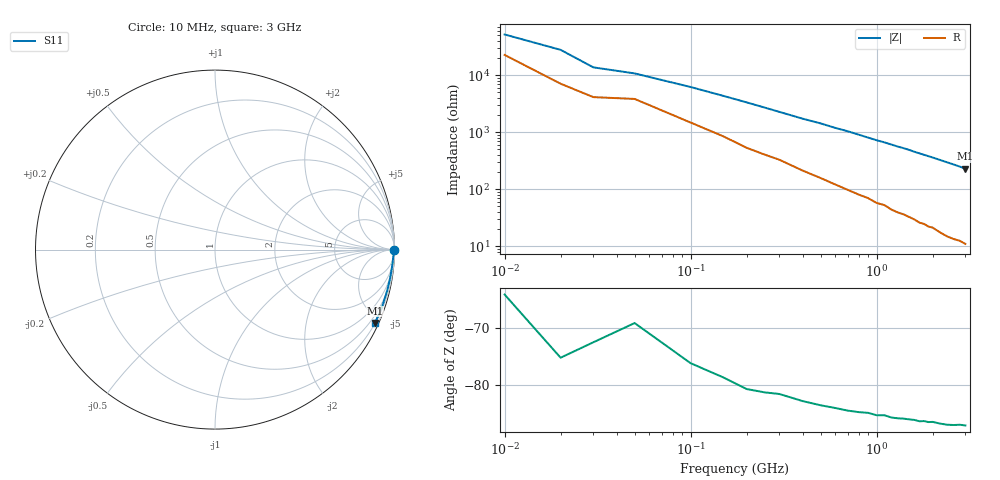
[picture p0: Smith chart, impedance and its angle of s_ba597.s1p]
! SIEMENS Small Signal Semiconductors
! BA597
! Si PIN Diode in SOD323
! VR = 10 V
! S-Parameters:  April  1996
# GHz  S  MA  R  50
!  f  S11
! GHz  MAG  ANG
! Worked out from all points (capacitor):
!   31 points, 10 MHz to 3 GHz, reference 50 ohm
!   read as one part to ground: C = 344 fF near 10 MHz
!   lowest |Z| = 229 ohm at 3 GHz (marker M1)
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0.01  0.9991 -0.1
0.02  0.9991 -0.2
0.03  0.9978 -0.4
0.05  0.9967 -0.5
0.2  0.9952 -1.7
0.3  0.9936 -2.5
0.4  0.9929 -3.3
0.5  0.9923 -4.0
0.6  0.9915 -4.8
0.7  0.991 -5.5
0.8  0.9902 -6.3
0.9  0.9893 -7.1
1  0.9891 -7.9
1.1  0.9881 -8.6
1.2  0.9882 -9.4
1.3  0.9876 -10.2
1.4  0.987 -10.9
1.5  0.9865 -11.7
1.6  0.9859 -12.6
1.7  0.9859 -13.4
1.8  0.985 -14.2
1.9  0.985 -15.0
2  0.984 -15.8
2.2  0.984 -17.5
2.4  0.9836 -19.2
2.6  0.9825 -20.9
2.8  0.9808 -22.7
3  0.9802 -24.6
